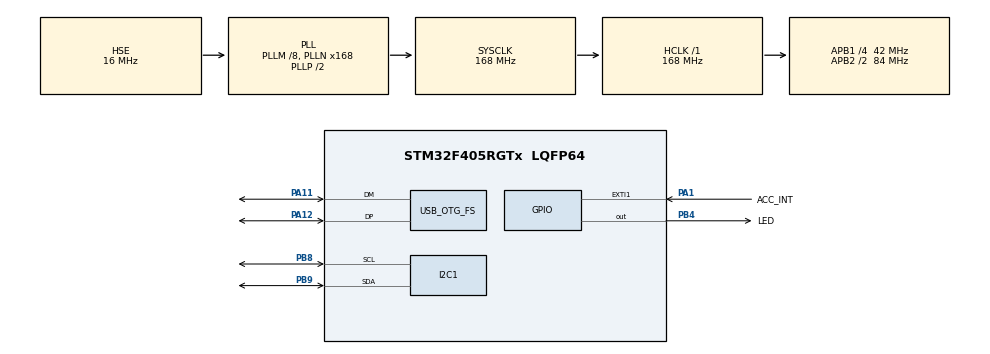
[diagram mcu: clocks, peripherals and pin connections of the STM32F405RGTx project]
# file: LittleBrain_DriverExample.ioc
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Mcu.Family=STM32F4
Mcu.Name=STM32F405RGTx
Mcu.Package=LQFP64
NVIC.EXTI1_IRQn=true\:0\:0\:false\:false\:true\:true\:true
NVIC.OTG_FS_IRQn=true\:0\:0\:false\:false\:true\:false\:true
NVIC.PriorityGroup=NVIC_PRIORITYGROUP_4
PA1.GPIO_Label=ACC_INT
PA1.Signal=GPXTI1
PA11.Mode=Device_Only
PA11.Signal=USB_OTG_FS_DM
PA12.Mode=Device_Only
PA12.Signal=USB_OTG_FS_DP
PA13.Mode=Trace_Asynchronous_SW
PA13.Signal=SYS_JTMS-SWDIO
PA14.Mode=Trace_Asynchronous_SW
PA14.Signal=SYS_JTCK-SWCLK
PB3.Mode=Trace_Asynchronous_SW
PB3.Signal=SYS_JTDO-SWO
PB4.GPIO_Label=LED
PB4.Signal=GPIO_Output
PB8.Mode=I2C
PB8.Signal=I2C1_SCL
PB9.Mode=I2C
PB9.Signal=I2C1_SDA
PH0-OSC_IN.Mode=HSE-External-Oscillator
PH0-OSC_IN.Signal=RCC_OSC_IN
PH1-OSC_OUT.Mode=HSE-External-Oscillator
PH1-OSC_OUT.Signal=RCC_OSC_OUT
ProjectManager.HeapSize=0x200
ProjectManager.StackSize=0x400
ProjectManager.TargetToolchain=STM32CubeIDE
RCC.48MHZClocksFreq_Value=48000000
RCC.AHBFreq_Value=168000000
RCC.APB1CLKDivider=RCC_HCLK_DIV4
RCC.APB1Freq_Value=42000000
RCC.APB1TimFreq_Value=84000000
RCC.APB2CLKDivider=RCC_HCLK_DIV2
RCC.APB2Freq_Value=84000000
RCC.APB2TimFreq_Value=168000000
RCC.CortexFreq_Value=168000000
RCC.HCLKFreq_Value=168000000
RCC.HSE_VALUE=16000000
RCC.HSI_VALUE=16000000
RCC.LSE_VALUE=32768
RCC.PLLM=8
RCC.PLLN=168
RCC.PLLQ=7
RCC.SYSCLKFreq_VALUE=168000000
RCC.SYSCLKSource=RCC_SYSCLKSOURCE_PLLCLK
RCC.VCOOutputFreq_Value=336000000
USB_DEVICE.CLASS_NAME_FS=CDC
USB_DEVICE.VirtualMode-CDC_FS=Cdc
USB_DEVICE.VirtualModeFS=Cdc_FS
USB_OTG_FS.VirtualMode=Device_Only
VP_USB_DEVICE_VS_USB_DEVICE_CDC_FS.Mode=CDC_FS
board=custom

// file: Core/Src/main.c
/* USER CODE BEGIN Header */
/**
  ******************************************************************************
  * @file           : main.c
  * @brief          : Main program body
  ******************************************************************************
  * @attention
  *
  * <h2><center>&copy; Copyright (c) 2021 STMicroelectronics.
  * All rights reserved.</center></h2>
  *
  * This software component is licensed by ST under BSD 3-Clause license,
  * the "License"; You may not use this file except in compliance with the
  * License. You may obtain a copy of the License at:
  *                        opensource.org/licenses/BSD-3-Clause
  *
  ******************************************************************************
  */
/* USER CODE END Header */
#include "main.h"
#include "usb_device.h"

/* USER CODE BEGIN Includes */
#include "usbd_cdc_if.h"

#include "ADXL355.h"
/* USER CODE END Includes */

/* USER CODE BEGIN PD */
#define SAMPLE_TIME_LOG_MS 100
#define SAMPLE_TIME_LED_MS 500
/* USER CODE END PD */

I2C_HandleTypeDef hi2c1;

/* USER CODE BEGIN PV */
ADXL355 acc;

uint8_t accDataReady;
/* USER CODE END PV */

void SystemClock_Config(void);
static void MX_GPIO_Init(void);
static void MX_I2C1_Init(void);

/* USER CODE BEGIN 0 */
void HAL_GPIO_EXTI_Callback( uint16_t GPIO_Pin ) {

	if ( GPIO_Pin == ACC_INT_Pin ) {

		/* Set data ready flag (checked in main while() loop) */
		accDataReady = 1;

	}

}
/* USER CODE END 0 */

int main(void)
{

  /* MCU Configuration--------------------------------------------------------*/

  /* Reset of all peripherals, Initializes the Flash interface and the Systick. */
  HAL_Init();

  /* Configure the system clock */
  SystemClock_Config();

  /* Initialize all configured peripherals */
  MX_GPIO_Init();
  MX_I2C1_Init();
  MX_USB_DEVICE_Init();
  /* USER CODE BEGIN 2 */

  /* Initialise accelerometer */
  ADXL355_Initialise( &acc, &hi2c1 );

  /* USB data buffer */
  char usbBuf[64];

  /* Timers */
  uint32_t timerLog;
  uint32_t timerLED;

  /* USER CODE END 2 */

  /* Infinite loop */
  /* USER CODE BEGIN WHILE */
  accDataReady = 0;

  while (1)
  {
    /* USER CODE END WHILE */

    /* USER CODE BEGIN 3 */

	/* Sample accelerometer if data ready flag has been set via interrupt */
	if ( accDataReady ) {

		/* Clear flag */
		accDataReady = 0;

	}

	/* Send accelerometer readings via virtual COM port (USB) */
	if ( (HAL_GetTick() - timerLog) >= SAMPLE_TIME_LOG_MS ) {

		ADXL355_ReadTemperature( &acc );
		ADXL355_ReadAccelerations( &acc );

		//uint8_t usbBufLen = snprintf(usbBuf, 64, "%.2f,%.2f\r\n", filterInput, filt.output);
		//CDC_Transmit_FS((uint8_t *) usbBuf, usbBufLen);

		timerLog += SAMPLE_TIME_LOG_MS;

	}

	/* Toggle LED */
	if ( (HAL_GetTick() - timerLED) >= SAMPLE_TIME_LED_MS ) {

		HAL_GPIO_TogglePin(LED_GPIO_Port, LED_Pin);

		timerLED += SAMPLE_TIME_LED_MS;

	}

  }
  /* USER CODE END 3 */
}

void SystemClock_Config(void)
{
  RCC_OscInitTypeDef RCC_OscInitStruct = {0};
  RCC_ClkInitTypeDef RCC_ClkInitStruct = {0};

  /** Configure the main internal regulator output voltage
  */
  __HAL_RCC_PWR_CLK_ENABLE();
  __HAL_PWR_VOLTAGESCALING_CONFIG(PWR_REGULATOR_VOLTAGE_SCALE1);
  /** Initializes the RCC Oscillators according to the specified parameters
  * in the RCC_OscInitTypeDef structure.
  */
  RCC_OscInitStruct.OscillatorType = RCC_OSCILLATORTYPE_HSE;
  RCC_OscInitStruct.HSEState = RCC_HSE_ON;
  RCC_OscInitStruct.PLL.PLLState = RCC_PLL_ON;
  RCC_OscInitStruct.PLL.PLLSource = RCC_PLLSOURCE_HSE;
  RCC_OscInitStruct.PLL.PLLM = 8;
  RCC_OscInitStruct.PLL.PLLN = 168;
  RCC_OscInitStruct.PLL.PLLP = RCC_PLLP_DIV2;
  RCC_OscInitStruct.PLL.PLLQ = 7;
  if (HAL_RCC_OscConfig(&RCC_OscInitStruct) != HAL_OK)
  {
    Error_Handler();
  }
  /** Initializes the CPU, AHB and APB buses clocks
  */
  RCC_ClkInitStruct.ClockType = RCC_CLOCKTYPE_HCLK|RCC_CLOCKTYPE_SYSCLK
                              |RCC_CLOCKTYPE_PCLK1|RCC_CLOCKTYPE_PCLK2;
  RCC_ClkInitStruct.SYSCLKSource = RCC_SYSCLKSOURCE_PLLCLK;
  RCC_ClkInitStruct.AHBCLKDivider = RCC_SYSCLK_DIV1;
  RCC_ClkInitStruct.APB1CLKDivider = RCC_HCLK_DIV4;
  RCC_ClkInitStruct.APB2CLKDivider = RCC_HCLK_DIV2;

  if (HAL_RCC_ClockConfig(&RCC_ClkInitStruct, FLASH_LATENCY_5) != HAL_OK)
  {
    Error_Handler();
  }
}

static void MX_I2C1_Init(void)
{

  hi2c1.Instance = I2C1;
  hi2c1.Init.ClockSpeed = 100000;
  hi2c1.Init.DutyCycle = I2C_DUTYCYCLE_2;
  hi2c1.Init.OwnAddress1 = 0;
  hi2c1.Init.AddressingMode = I2C_ADDRESSINGMODE_7BIT;
  hi2c1.Init.DualAddressMode = I2C_DUALADDRESS_DISABLE;
  hi2c1.Init.OwnAddress2 = 0;
  hi2c1.Init.GeneralCallMode = I2C_GENERALCALL_DISABLE;
  hi2c1.Init.NoStretchMode = I2C_NOSTRETCH_DISABLE;
  if (HAL_I2C_Init(&hi2c1) != HAL_OK)
  {
    Error_Handler();
  }

}

static void MX_GPIO_Init(void)
{
  GPIO_InitTypeDef GPIO_InitStruct = {0};

  /* GPIO Ports Clock Enable */
  __HAL_RCC_GPIOH_CLK_ENABLE();
  __HAL_RCC_GPIOA_CLK_ENABLE();
  __HAL_RCC_GPIOB_CLK_ENABLE();

  /*Configure GPIO pin Output Level */
  HAL_GPIO_WritePin(LED_GPIO_Port, LED_Pin, GPIO_PIN_RESET);

  /*Configure GPIO pin : ACC_INT_Pin */
  GPIO_InitStruct.Pin = ACC_INT_Pin;
  GPIO_InitStruct.Mode = GPIO_MODE_IT_RISING;
  GPIO_InitStruct.Pull = GPIO_NOPULL;
  HAL_GPIO_Init(ACC_INT_GPIO_Port, &GPIO_InitStruct);

  /*Configure GPIO pin : LED_Pin */
  GPIO_InitStruct.Pin = LED_Pin;
  GPIO_InitStruct.Mode = GPIO_MODE_OUTPUT_PP;
  GPIO_InitStruct.Pull = GPIO_NOPULL;
  GPIO_InitStruct.Speed = GPIO_SPEED_FREQ_LOW;
  HAL_GPIO_Init(LED_GPIO_Port, &GPIO_InitStruct);

  /* EXTI interrupt init*/
  HAL_NVIC_SetPriority(EXTI1_IRQn, 0, 0);
  HAL_NVIC_EnableIRQ(EXTI1_IRQn);

}

void Error_Handler(void)
{
  __disable_irq();
  while (1)
  {
  }
}

/************************ (C) COPYRIGHT STMicroelectronics *****END OF FILE****/
